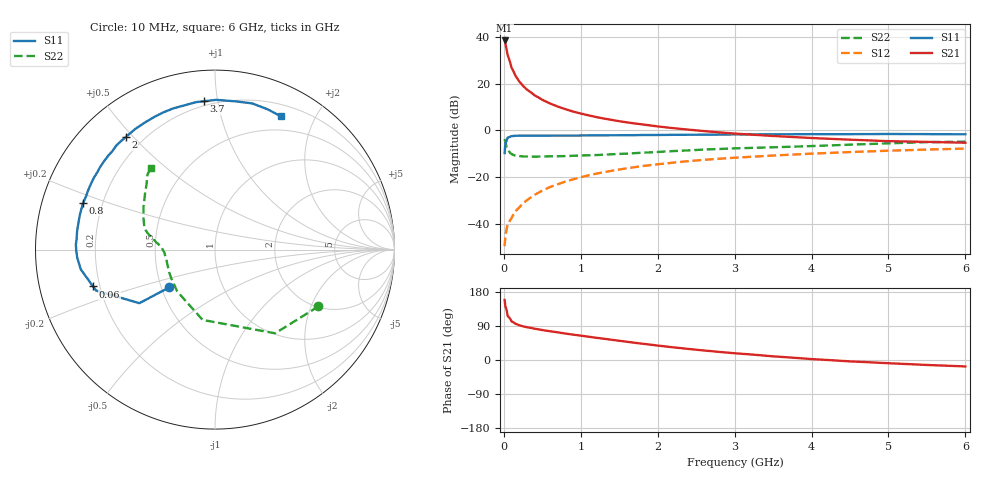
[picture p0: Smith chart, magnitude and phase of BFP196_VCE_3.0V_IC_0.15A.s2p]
! Infineon Technologies  Discrete & RF Semiconductors
! BFP196
! VCE =  3.0 V,  IC = 0.15 A
! Common Emitter S-Parameters:  Jan 2017
# GHz  S  MA  R  50
!  f  S11  S21  S12  S22
! GHz  MAG  ANG  MAG  ANG  MAG  ANG  MAG  ANG
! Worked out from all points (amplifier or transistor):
!   77 points, 10 MHz to 6 GHz, reference 50 ohm
!   highest |S21| = 38.4 dB at 10 MHz (marker M1)
!   |S21| within 3 dB of that: start of sweep to 30.73 MHz
!   unconditionally stable (mu >= 1): 190.8 MHz to 3.387 GHz; 5.609 GHz to end of sweep
!   at 130 MHz: K = 0.90, MSG = 30.2 dB, |S12| = -35.5 dB
!   at 2.2 GHz: K = 1.03, MAG = 6.2 dB, |S12| = -13.7 dB
!   at 6 GHz: K = 1.01, MAG = 0.8 dB, |S12| = -7.7 dB
!   S11 on the Smith chart (normalised r, x): 10 MHz: 0.55, -0.26; 60 MHz: 0.17, -0.14; 800 MHz: 0.13, +0.17; 2 GHz: 0.14, +0.48; 3.7 GHz: 0.17, +0.91; 6 GHz: 0.33, +1.56
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0.01  0.3296 -140.4  83 158.5  0.0034 73.5  0.6572 -28.8
0.02  0.5166 -144.7  70.92 141.6  0.0055 68.4  0.5743 -54.3
0.05  0.701 -161.0  40.13 115.7  0.0099 54.6  0.3978 -100.0
0.06  0.7099 -163.2  36.34 114.0  0.0106 56.6  0.373 -105.1
0.1  0.7557 -171.6  21.76 101.7  0.0135 62.3  0.3141 -132.0
0.15  0.7689 -176.6  14.74 95.8  0.0188 63.9  0.2915 -146.8
0.2  0.7731 -179.6  11.12 91.8  0.0227 68.4  0.2844 -154.9
0.25  0.7757 177.9  8.913 88.8  0.028 69.1  0.279 -159.9
0.3  0.7733 175.8  7.44 86.6  0.0324 70.7  0.2775 -163.8
0.4  0.7752 172.3  5.613 82.5  0.0421 72.3  0.2764 -168.5
0.5  0.7754 168.9  4.495 79.0  0.0522 71.9  0.2777 -171.6
0.6  0.7772 166.0  3.765 75.9  0.062 71.5  0.2809 -174.2
0.8  0.779 160.4  2.839 69.8  0.0812 70.2  0.2839 -177.6
1.1  0.7821 152.2  2.098 61.5  0.1101 66.5  0.2952 178.7
1.5  0.7901 141.5  1.573 50.8  0.1468 60.9  0.3156 174.6
2  0.8001 128.5  1.218 38.1  0.1896 53.2  0.3475 170.7
2.1  0.8022 125.9  1.168 35.8  0.1974 51.7  0.3551 169.7
3.1  0.8202 104.7  0.838 16.3  0.2674 37.1  0.4191 160.5
3.7  0.8289 94.2  0.732 6.9  0.3024 29.5  0.4472 153.0
4.1  0.8332 88.0  0.678 1.3  0.3247 24.5  0.4702 147.5
5.1  0.8386 74.4  0.587 -9.4  0.3736 12.4  0.5366 135.1
6  0.8281 63.6  0.547 -17.0  0.4102 2.3  0.576 128.3
